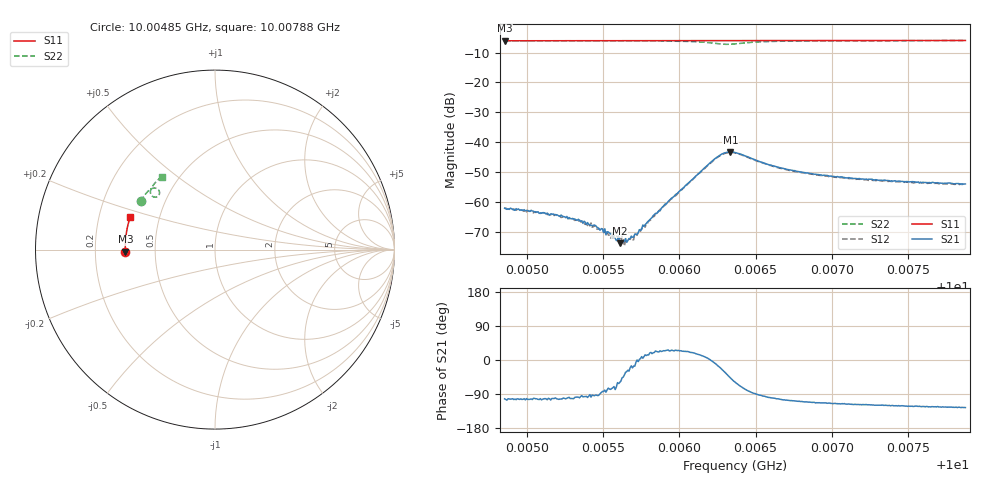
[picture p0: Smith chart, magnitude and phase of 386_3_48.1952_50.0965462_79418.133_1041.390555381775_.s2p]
#  HZ  S  RI  R  50.00
! Rohde & Schwarz Vector Network Analyzer
! Rohde-Schwarz,ZNB20-2Port,1311601062101988,3.16
! Created: UTC 3/20/2024, 11:53:20 AM
! freq[Hz]  re:S11  im:S11  re:S21  im:S21  re:S12  im:S12  re:S22  im:S22
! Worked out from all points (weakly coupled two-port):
!   401 points, 10.00485 GHz to 10.00788 GHz, reference 50 ohm
!   highest |S21| = -43.32 dB at 10.00633 GHz (marker M1); lowest = -73.9 dB at 10.00561 GHz (marker M2)
!   lowest |S11| = -6.0 dB at 10.00485 GHz (marker M3), VSWR 2.99, Z = 16.7 - j0.522 ohm
!   |S11| at or under -10 dB: nowhere
!   |S22| runs from -7.2 to -6.0 dB; largest |S21 - S12| = 0.0004
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1.0004855e10  -0.4991 -0.0117  -0.000169 -0.000762  -0.000141 -0.000758  -0.4143 0.269
1.0005179e10  -0.4998 0.0095  -0.000124 -0.000599  -8.55e-05 -0.000579  -0.4026 0.2881
1.0005361e10  -0.4998 0.0213  -3.33e-05 -0.000479  -1.82e-05 -0.000452  -0.3951 0.2989
1.0005451e10  -0.4997 0.0271  -1.6e-05 -0.000398  -1.48e-05 -0.000353  -0.391 0.3044
1.0005512e10  -0.4997 0.0311  6.4e-05 -0.000346  3.87e-05 -0.000303  -0.3884 0.3083
1.0005542e10  -0.4996 0.033  6.94e-05 -0.000291  6.2e-05 -0.000268  -0.3868 0.3099
1.000558e10  -0.4994 0.0354  5.07e-05 -0.00024  0.000114 -0.000229  -0.385 0.3122
1.000561e10  -0.4993 0.0373  0.000103 -0.000173  0.00015 -0.000199  -0.3834 0.3142
1.0005625e10  -0.4993 0.0385  0.000152 -0.000162  0.000172 -0.000199  -0.3826 0.3151
1.0005648e10  -0.4994 0.0398  0.000204 -0.00013  0.000191 -0.000122  -0.3815 0.3163
1.0005685e10  -0.4992 0.0423  0.000256 -7.06e-05  0.000241 -8.68e-05  -0.3793 0.3189
1.0005716e10  -0.4991 0.0442  0.000283 -3.07e-05  0.000283 -3.11e-05  -0.3775 0.3208
1.0005829e10  -0.4984 0.0515  0.000552 0.000191  0.000525 0.000212  -0.3702 0.3281
1.0005867e10  -0.4982 0.0542  0.000663 0.00026  0.000632 0.000298  -0.3675 0.3304
1.0006222e10  -0.4955 0.0769  0.00494 -0.000432  0.00486 -0.000185  -0.3139 0.3316
1.0006282e10  -0.495 0.0804  0.00573 -0.00275  0.00571 -0.00242  -0.3095 0.3108
1.0006335e10  -0.4947 0.0836  0.00464 -0.00501  0.00476 -0.00463  -0.3224 0.2947
1.0006365e10  -0.4944 0.0855  0.00352 -0.00568  0.00372 -0.0054  -0.3334 0.292
1.0006645e10  -0.4921 0.1033  -0.000829 -0.00372  -0.000626 -0.00368  -0.3581 0.3335
1.0006871e10  -0.4894 0.1178  -0.0011 -0.00273  -0.000902 -0.00275  -0.3481 0.3538
1.0007377e10  -0.4816 0.1495  -0.00112 -0.00196  -0.00101 -0.00196  -0.3227 0.3834
1.0007876e10  -0.4722 0.18  -0.00115 -0.00162  -0.00107 -0.00161  -0.2973 0.4063
